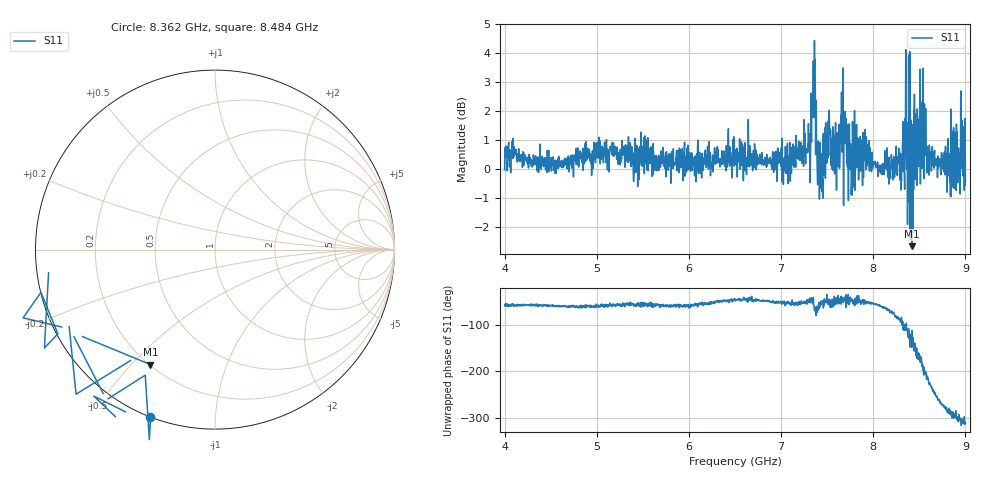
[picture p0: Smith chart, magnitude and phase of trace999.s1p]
! Created with skrf 1.8.0 (http://scikit-rf.org).
# Hz S RI R 50.0
!freq ReS11 ImS11
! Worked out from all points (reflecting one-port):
!   1601 points, 4 GHz to 9 GHz, reference 50 ohm
!   lowest |S11| = -2.7 dB at 8.422 GHz (marker M1), VSWR 6.53, Z = 10.2 - j28.4 ohm
!   phase of S11 starts at -58 deg and turns -254 deg over the sweep
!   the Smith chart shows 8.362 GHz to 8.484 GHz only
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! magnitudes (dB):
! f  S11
! 4 GHz  0.0
! 4.094 GHz  0.5
! 4.625 GHz  0.1
! 5.25 GHz  0.1
! 5.875 GHz  0.6
! 6.5 GHz  0.6
! 7.125 GHz  0.3
! 7.297 GHz  1.6
! 7.328 GHz  1.0
! 7.347 GHz  2.6
! 7.359 GHz  3.2
! 7.397 GHz  -0.6
! 7.428 GHz  -0.7
! 7.509 GHz  0.4
! 7.619 GHz  0.5
! 7.669 GHz  2.4
! 7.75 GHz  0.0
! 8.181 GHz  0.1
! 8.316 GHz  0.5
! 8.334 GHz  0.0
! 8.375 GHz  0.2
! 8.412 GHz  -0.7
! 8.422 GHz  -2.7
! 8.522 GHz  1.1
! 8.606 GHz  -0.2
! 8.844 GHz  -1.0
! 8.972 GHz  0.7
! 9 GHz  -0.6
